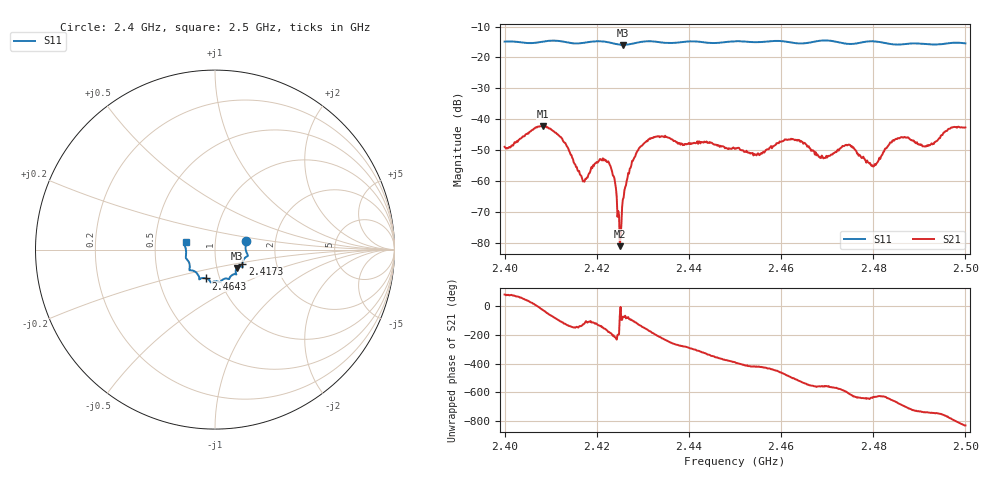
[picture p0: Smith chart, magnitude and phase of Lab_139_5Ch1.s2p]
# Hz S RI R
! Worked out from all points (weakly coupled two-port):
!   601 points, 2.4 GHz to 2.5 GHz, reference 50 ohm
!   highest |S21| = -42.22 dB at 2.4083 GHz (marker M1); lowest = -81.2 dB at 2.425 GHz (marker M2)
!   lowest |S11| = -15.9 dB at 2.4257 GHz (marker M3), VSWR 1.38, Z = 62.5 - j13.1 ohm
!   |S11| at or under -10 dB: start of sweep to end of sweep
!   S12 and S22 are empty: the file has one direction only
!   S11 on the Smith chart (normalised r, x): 2.4 GHz: 1.41, +0.14; 2.4173 GHz: 1.34, -0.23; 2.4643 GHz: 0.86, -0.28; 2.5 GHz: 0.72, +0.06
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2.4e9  0.1734 0.0493  0.000424 0.00353  0 0  0 0
2.408333e9  0.1794 -0.0234  0.00699 -0.00332  0 0  0 0
2.412667e9  0.1762 -0.0393  -0.00172 -0.00413  0 0  0 0
2.416667e9  0.153 -0.0746  -0.000866 -0.000824  0 0  0 0
2.417333e9  0.1523 -0.082  -0.000465 -0.00085  0 0  0 0
2.420333e9  0.1546 -0.0974  -0.00134 -0.00155  0 0  0 0
2.4225e9  0.1487 -0.094  -0.00207 -5.11e-05  0 0  0 0
2.423667e9  0.1394 -0.0942  -0.00111 0.00045  0 0  0 0
2.425e9  0.1279 -0.0979  3.69e-05 -7.94e-05  0 0  0 0
2.425667e9  0.1228 -0.1021  0.000158 -0.000476  0 0  0 0
2.4265e9  0.1183 -0.1093  0.000218 -0.000977  0 0  0 0
2.428167e9  0.115 -0.1249  -0.000652 -0.00231  0 0  0 0
2.433333e9  0.1127 -0.1369  -0.00465 0.00245  0 0  0 0
2.45e9  0.0293 -0.1807  0.00288 -0.0016  0 0  0 0
2.464333e9  -0.0499 -0.1606  -0.00432 -0.00103  0 0  0 0
2.466667e9  -0.076 -0.1597  -0.00299 0.000732  0 0  0 0
2.469667e9  -0.0879 -0.1664  -0.00224 0.000747  0 0  0 0
2.4745e9  -0.1016 -0.1309  -0.00165 0.00345  0 0  0 0
2.48e9  -0.1429 -0.1134  7.24e-05 0.0017  0 0  0 0
2.483333e9  -0.1404 -0.0899  0.000895 0.00367  0 0  0 0
2.491667e9  -0.1613 -0.0288  0.00355 -0.00124  0 0  0 0
2.5e9  -0.1633 0.042  -0.00271 -0.00682  0 0  0 0
